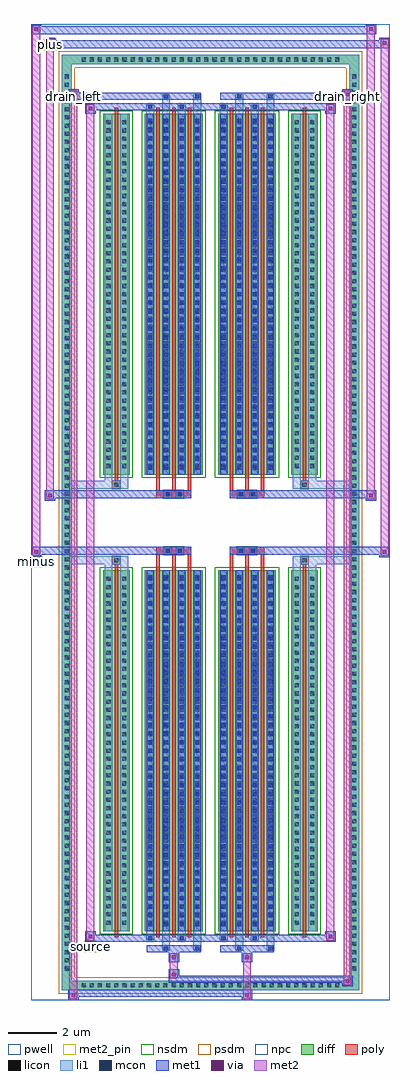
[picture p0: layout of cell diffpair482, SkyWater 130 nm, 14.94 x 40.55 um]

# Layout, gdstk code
import gdstk
lib = gdstk.Library(unit=1e-6, precision=5e-09)
def R(c, l, rs):  # rectangles x0, y0, x1, y1
    for r in rs: c.add(gdstk.rectangle(r[:2], r[2:], *l))
def A(c, l, x, y, w, h, nx, ny, dx, dy):  # array of equal rectangles
    R(c, l, [(x+i*dx, y+j*dy, x+i*dx+w, y+j*dy+h) for i in range(nx) for j in range(ny)])
def P(c, l, *ps):  # polygons
    for p in ps: c.add(gdstk.Polygon(p, *l))
pwell = (64, 44)
diff = (65, 20)
poly = (66, 20)
licon = (66, 44)
li1 = (67, 20)
mcon = (67, 44)
met1 = (68, 20)
via = (68, 44)
met2_pin = (69, 16)
met2 = (69, 20)
nsdm = (93, 44)
psdm = (94, 20)
npc = (95, 20)

diffpair482 = lib.new_cell('diffpair482')
R(diffpair482, pwell, [(-7.45,-19.84,7.45,20.71), (-4.77,-18.03,-0.01,-0.805), (0.01,-18.03,4.77,-0.805), (-4.77,0.805,-0.01,18.03), (0.01,0.805,4.77,18.03)])
A(diffpair482, diff, -5.475, -19.44, 0.41, 0.41, 32, 2, 0.34, 38.47)
A(diffpair482, diff, -6.18, -18.735, 0.41, 0.41, 1, 110, 0, 0.34)
A(diffpair482, diff, 5.77, -18.735, 0.41, 0.41, 1, 110, 0, 0.34)
R(diffpair482, diff, [(-5.475,-19.44,5.475,-19.03), (-6.18,-18.735,-5.77,18.735), (5.77,-18.735,6.18,18.735), (-4.46,-16.985,-3.36,-1.985), (-2.72,-16.985,-0.32,-1.985), (0.32,-16.985,2.72,-1.985), (3.36,-16.985,4.46,-1.985), (-4.46,1.985,-3.36,16.985), (-2.72,1.985,-0.32,16.985), (0.32,1.985,2.72,16.985), (3.36,1.985,4.46,16.985), (-5.475,19.03,5.475,19.44)])
P(diffpair482, diff, [(6.18,19.44),(-6.18,19.44),(-6.18,-19.03),(-5.77,-19.03),(-5.77,19.03),(5.77,19.03),(5.77,-19.03),(-5.77,-19.03),(-6.18,-19.03),(-6.18,-19.44),(6.18,-19.44)])
A(diffpair482, poly, -2.245, -17.235, 0.15, 15.5, 3, 2, 0.65, 18.97)
A(diffpair482, poly, 0.795, -17.235, 0.15, 15.5, 3, 2, 0.65, 18.97)
A(diffpair482, poly, -2.245, -1.735, 0.15, 0.4, 3, 2, 0.65, 3.07)
A(diffpair482, poly, 0.795, -1.735, 0.15, 0.4, 3, 2, 0.65, 3.07)
R(diffpair482, poly, [(-3.985,-17.235,-3.835,-1.735), (3.835,-17.235,3.985,-1.735), (-4.075,-1.735,-3.745,-1.405), (-4.075,-1.735,-3.745,-1.405), (3.745,-1.735,4.075,-1.405), (3.745,-1.735,4.075,-1.405), (-2.245,-1.335,-0.795,-1.005), (-1.935,-1.335,-1.605,-1.005), (-1.435,-1.335,-1.105,-1.005), (0.795,-1.335,2.245,-1.005), (1.105,-1.335,1.435,-1.005), (1.605,-1.335,1.935,-1.005), (-2.245,1.005,-0.795,1.335), (-1.935,1.005,-1.605,1.335), (-1.435,1.005,-1.105,1.335), (0.795,1.005,2.245,1.335), (1.105,1.005,1.435,1.335), (1.605,1.005,1.935,1.335), (-4.075,1.405,-3.745,1.735), (-4.075,1.405,-3.745,1.735), (3.745,1.405,4.075,1.735), (3.745,1.405,4.075,1.735), (-3.985,1.735,-3.835,17.235), (3.835,1.735,3.985,17.235)])
A(diffpair482, licon, -5.355, -19.32, 0.17, 0.17, 32, 2, 0.34, 38.47)
A(diffpair482, licon, -6.06, -18.615, 0.17, 0.17, 1, 110, 0, 0.34)
A(diffpair482, licon, 5.89, -18.615, 0.17, 0.17, 1, 110, 0, 0.34)
A(diffpair482, licon, -4.32, -16.71, 0.17, 0.17, 1, 43, 0, 0.34)
A(diffpair482, licon, -3.67, -16.71, 0.17, 0.17, 1, 43, 0, 0.34)
A(diffpair482, licon, -2.58, -16.71, 0.17, 0.17, 4, 43, 0.65, 0.34)
A(diffpair482, licon, 0.46, -16.71, 0.17, 0.17, 4, 43, 0.65, 0.34)
A(diffpair482, licon, 3.5, -16.71, 0.17, 0.17, 1, 43, 0, 0.34)
A(diffpair482, licon, 4.15, -16.71, 0.17, 0.17, 1, 43, 0, 0.34)
A(diffpair482, licon, -4.32, 2.26, 0.17, 0.17, 1, 43, 0, 0.34)
A(diffpair482, licon, -3.67, 2.26, 0.17, 0.17, 1, 43, 0, 0.34)
A(diffpair482, licon, -2.58, 2.26, 0.17, 0.17, 4, 43, 0.65, 0.34)
A(diffpair482, licon, 0.46, 2.26, 0.17, 0.17, 4, 43, 0.65, 0.34)
A(diffpair482, licon, 3.5, 2.26, 0.17, 0.17, 1, 43, 0, 0.34)
A(diffpair482, licon, 4.15, 2.26, 0.17, 0.17, 1, 43, 0, 0.34)
R(diffpair482, licon, [(-3.995,-1.655,-3.825,-1.485), (3.825,-1.655,3.995,-1.485), (-1.855,-1.255,-1.685,-1.085), (-1.355,-1.255,-1.185,-1.085), (1.185,-1.255,1.355,-1.085), (1.685,-1.255,1.855,-1.085), (-1.855,1.085,-1.685,1.255), (-1.355,1.085,-1.185,1.255), (1.185,1.085,1.355,1.255), (1.685,1.085,1.855,1.255), (-3.995,1.485,-3.825,1.655), (3.825,1.485,3.995,1.655)])
A(diffpair482, li1, -5.435, -19.4, 0.33, 0.33, 32, 2, 0.34, 38.47)
A(diffpair482, li1, -6.14, -18.695, 0.33, 0.33, 1, 110, 0, 0.34)
A(diffpair482, li1, 5.81, -18.695, 0.33, 0.33, 1, 110, 0, 0.34)
A(diffpair482, li1, -2.66, -16.985, 0.33, 15, 4, 2, 0.65, 18.97)
A(diffpair482, li1, 0.38, -16.985, 0.33, 15, 4, 2, 0.65, 18.97)
A(diffpair482, li1, -4.4, -16.79, 0.33, 0.33, 1, 43, 0, 0.34)
A(diffpair482, li1, -3.75, -16.79, 0.33, 0.33, 1, 43, 0, 0.34)
A(diffpair482, li1, -2.66, -16.79, 0.33, 0.33, 4, 43, 0.65, 0.34)
A(diffpair482, li1, 0.38, -16.79, 0.33, 0.33, 4, 43, 0.65, 0.34)
A(diffpair482, li1, 3.42, -16.79, 0.33, 0.33, 1, 43, 0, 0.34)
A(diffpair482, li1, 4.07, -16.79, 0.33, 0.33, 1, 43, 0, 0.34)
A(diffpair482, li1, -2.58, -16.77, 0.17, 0.17, 4, 41, 0.65, 0.36)
A(diffpair482, li1, -2.58, -16.77, 0.17, 14.57, 4, 2, 0.65, 18.97)
A(diffpair482, li1, 0.46, -16.77, 0.17, 0.17, 4, 41, 0.65, 0.36)
A(diffpair482, li1, 0.46, -16.77, 0.17, 14.57, 4, 2, 0.65, 18.97)
A(diffpair482, li1, -4.4, 2.18, 0.33, 0.33, 1, 43, 0, 0.34)
A(diffpair482, li1, -3.75, 2.18, 0.33, 0.33, 1, 43, 0, 0.34)
A(diffpair482, li1, -2.66, 2.18, 0.33, 0.33, 4, 43, 0.65, 0.34)
A(diffpair482, li1, 0.38, 2.18, 0.33, 0.33, 4, 43, 0.65, 0.34)
A(diffpair482, li1, 3.42, 2.18, 0.33, 0.33, 1, 43, 0, 0.34)
A(diffpair482, li1, 4.07, 2.18, 0.33, 0.33, 1, 43, 0, 0.34)
A(diffpair482, li1, -2.58, 2.2, 0.17, 0.17, 4, 41, 0.65, 0.36)
A(diffpair482, li1, 0.46, 2.2, 0.17, 0.17, 4, 41, 0.65, 0.36)
R(diffpair482, li1, [(-6.18,-19.44,-5.77,-19.03), (-6.18,-19.44,-5.77,-19.03), (-5.77,-19.44,5.77,-19.03), (5.77,-19.44,6.18,-19.03), (5.77,-19.44,6.18,-19.03), (-6.18,-19.03,-5.77,19.03), (5.77,-19.03,6.18,19.03), (-2.01,-17.79,-1.68,-16.985), (-1.93,-17.79,-1.76,-17.62), (-0.71,-17.79,-0.38,-16.985), (-0.63,-17.79,-0.46,-17.62), (1.03,-17.79,1.36,-16.985), (1.11,-17.79,1.28,-17.62), (2.33,-17.79,2.66,-16.985), (2.41,-17.79,2.58,-17.62), (-2.66,-17.36,-2.33,-16.985), (-2.58,-17.36,-2.41,-17.19), (-1.36,-17.36,-1.03,-16.985), (-1.28,-17.36,-1.11,-17.19), (0.38,-17.36,0.71,-16.985), (0.46,-17.36,0.63,-17.19), (1.68,-17.36,2.01,-16.985), (1.76,-17.36,1.93,-17.19), (-4.4,-16.985,-4.07,-1.985), (-3.75,-16.985,-3.42,-1.985), (3.42,-16.985,3.75,-1.985), (4.07,-16.985,4.4,-1.985), (-4.4,-1.985,-4.07,-1.405), (-3.75,-1.985,-3.42,-1.405), (3.42,-1.985,3.75,-1.405), (4.07,-1.985,4.4,-1.405), (-6.18,-1.735,-4.075,-1.405), (-4.4,-1.735,-4.075,-1.405), (-4.075,-1.735,-3.745,-1.405), (-3.745,-1.735,-3.42,-1.405), (3.42,-1.735,3.745,-1.405), (3.745,-1.735,4.075,-1.405), (3.745,-1.735,6.18,-1.405), (4.075,-1.735,4.4,-1.405), (-1.935,-1.335,-1.605,-1.005), (-1.435,-1.335,-1.105,-1.005), (1.105,-1.335,1.435,-1.005), (1.605,-1.335,1.935,-1.005), (-1.935,1.005,-1.605,1.335), (-1.435,1.005,-1.105,1.335), (1.105,1.005,1.435,1.335), (1.605,1.005,1.935,1.335), (-6.18,1.405,-4.075,1.735), (-4.4,1.405,-4.075,1.735), (-4.4,1.405,-4.07,1.985), (-4.075,1.405,-3.745,1.735), (-3.75,1.405,-3.42,1.985), (-3.745,1.405,-3.42,1.735), (3.42,1.405,3.745,1.735), (3.42,1.405,3.75,1.985), (3.745,1.405,4.075,1.735), (3.745,1.405,6.18,1.735), (4.07,1.405,4.4,1.985), (4.075,1.405,4.4,1.735), (-4.4,1.985,-4.07,16.985), (-3.75,1.985,-3.42,16.985), (3.42,1.985,3.75,16.985), (4.07,1.985,4.4,16.985), (-2.66,16.985,-2.33,17.36), (-2.01,16.985,-1.68,17.79), (-1.36,16.985,-1.03,17.36), (-0.71,16.985,-0.38,17.79), (0.38,16.985,0.71,17.36), (1.03,16.985,1.36,17.79), (1.68,16.985,2.01,17.36), (2.33,16.985,2.66,17.79), (-2.58,17.19,-2.41,17.36), (-1.28,17.19,-1.11,17.36), (0.46,17.19,0.63,17.36), (1.76,17.19,1.93,17.36), (-1.93,17.62,-1.76,17.79), (-0.63,17.62,-0.46,17.79), (1.11,17.62,1.28,17.79), (2.41,17.62,2.58,17.79), (-6.18,19.03,-5.77,19.44), (-6.18,19.03,-5.77,19.44), (-5.77,19.03,5.77,19.44), (5.77,19.03,6.18,19.44), (5.77,19.03,6.18,19.44)])
A(diffpair482, mcon, -2.58, -16.77, 0.17, 0.17, 4, 41, 0.65, 0.36)
A(diffpair482, mcon, 0.46, -16.77, 0.17, 0.17, 4, 41, 0.65, 0.36)
A(diffpair482, mcon, -2.58, 2.2, 0.17, 0.17, 4, 41, 0.65, 0.36)
A(diffpair482, mcon, 0.46, 2.2, 0.17, 0.17, 4, 41, 0.65, 0.36)
R(diffpair482, mcon, [(-1.93,-17.79,-1.76,-17.62), (-0.63,-17.79,-0.46,-17.62), (1.11,-17.79,1.28,-17.62), (2.41,-17.79,2.58,-17.62), (-2.58,-17.36,-2.41,-17.19), (-1.28,-17.36,-1.11,-17.19), (0.46,-17.36,0.63,-17.19), (1.76,-17.36,1.93,-17.19), (-1.855,-1.255,-1.685,-1.085), (-1.355,-1.255,-1.185,-1.085), (1.185,-1.255,1.355,-1.085), (1.685,-1.255,1.855,-1.085), (-1.855,1.085,-1.685,1.255), (-1.355,1.085,-1.185,1.255), (1.185,1.085,1.355,1.255), (1.685,1.085,1.855,1.255), (-2.58,17.19,-2.41,17.36), (-1.28,17.19,-1.11,17.36), (0.46,17.19,0.63,17.36), (1.76,17.19,1.93,17.36), (-1.93,17.62,-1.76,17.79), (-0.63,17.62,-0.46,17.79), (1.11,17.62,1.28,17.79), (2.41,17.62,2.58,17.79)])
A(diffpair482, met1, -2.64, -16.985, 0.29, 15, 4, 2, 0.65, 18.97)
A(diffpair482, met1, 0.4, -16.985, 0.29, 15, 4, 2, 0.65, 18.97)
A(diffpair482, met1, -2.64, -16.83, 0.29, 0.29, 4, 41, 0.65, 0.36)
A(diffpair482, met1, 0.4, -16.83, 0.29, 0.29, 4, 41, 0.65, 0.36)
A(diffpair482, met1, -2.64, 2.14, 0.29, 0.29, 4, 41, 0.65, 0.36)
A(diffpair482, met1, 0.4, 2.14, 0.29, 0.29, 4, 41, 0.65, 0.36)
R(diffpair482, met1, [(-5.91,-19.84,-5.48,-19.41), (1.305,-19.84,1.735,-19.41), (-5.91,-19.7,1.735,-19.41), (5.48,-19.27,5.91,-18.84), (-1.735,-19.13,5.91,-18.84), (-1.735,-18.99,-1.305,-18.56), (-1.735,-18.28,-1.305,-17.85), (1.305,-18.28,1.735,-17.85), (-2.64,-17.85,-0.4,-17.56), (-1.99,-17.85,-1.7,-17.56), (-0.69,-17.85,-0.4,-17.56), (0.4,-17.85,2.64,-17.56), (1.05,-17.85,1.34,-17.56), (2.35,-17.85,2.64,-17.56), (-5.2,-17.42,-4.77,-16.99), (-5.2,-17.42,-2.64,-17.13), (-2.64,-17.42,-2.35,-17.13), (-2.64,-17.42,-0.4,-17.13), (-1.34,-17.42,-1.05,-17.13), (-0.4,-17.42,0.4,-17.13), (0.4,-17.42,0.69,-17.13), (0.4,-17.42,2.64,-17.13), (1.7,-17.42,1.99,-17.13), (2.64,-17.42,5.2,-17.13), (4.77,-17.42,5.2,-16.99), (-7.45,-1.435,-7.02,-1.005), (7.02,-1.435,7.45,-1.005), (-7.45,-1.335,-0.795,-1.005), (-2.245,-1.335,-0.795,-1.005), (0.795,-1.335,2.245,-1.005), (0.795,-1.335,7.45,-1.005), (-1.915,-1.315,-1.625,-1.025), (-1.415,-1.315,-1.125,-1.025), (1.125,-1.315,1.415,-1.025), (1.625,-1.315,1.915,-1.025), (-6.88,0.905,-6.45,1.335), (6.45,0.905,6.88,1.335), (-6.88,1.005,-2.245,1.335), (-2.245,1.005,-0.795,1.335), (0.795,1.005,2.245,1.335), (2.245,1.005,6.88,1.335), (-1.915,1.025,-1.625,1.315), (-1.415,1.025,-1.125,1.315), (1.125,1.025,1.415,1.315), (1.625,1.025,1.915,1.315), (-5.2,16.99,-4.77,17.42), (4.77,16.99,5.2,17.42), (-5.2,17.13,-2.64,17.42), (-2.64,17.13,-2.35,17.42), (-2.64,17.13,-0.4,17.42), (-1.34,17.13,-1.05,17.42), (-0.4,17.13,0.4,17.42), (0.4,17.13,0.69,17.42), (0.4,17.13,2.64,17.42), (1.7,17.13,1.99,17.42), (2.64,17.13,5.2,17.42), (-5.91,17.56,-5.48,17.99), (-5.91,17.56,-2.64,17.85), (-2.64,17.56,-0.4,17.85), (-1.99,17.56,-1.7,17.85), (-0.69,17.56,-0.4,17.85), (0.4,17.56,2.64,17.85), (1.05,17.56,1.34,17.85), (2.35,17.56,2.64,17.85), (2.64,17.56,5.91,17.85), (5.48,17.56,5.91,17.99), (-6.88,19.71,-6.45,20.14), (-6.88,19.71,-4.77,20.04), (-4.77,19.71,4.77,20.04), (4.77,19.71,7.45,20.04), (7.02,19.71,7.45,20.14), (-7.45,20.28,-7.02,20.71), (-7.45,20.28,-4.77,20.61), (-4.77,20.28,4.77,20.61), (4.77,20.28,6.88,20.61), (6.45,20.28,6.88,20.71)])
R(diffpair482, via, [(-5.77,-19.7,-5.62,-19.55), (1.445,-19.7,1.595,-19.55), (5.62,-19.13,5.77,-18.98), (-1.595,-18.85,-1.445,-18.7), (-1.595,-18.14,-1.445,-17.99), (1.445,-18.14,1.595,-17.99), (-5.06,-17.28,-4.91,-17.13), (4.91,-17.28,5.06,-17.13), (-7.31,-1.295,-7.16,-1.145), (7.16,-1.295,7.31,-1.145), (-6.74,1.045,-6.59,1.195), (6.59,1.045,6.74,1.195), (-5.06,17.13,-4.91,17.28), (4.91,17.13,5.06,17.28), (-5.77,17.7,-5.62,17.85), (5.62,17.7,5.77,17.85), (-6.74,19.85,-6.59,20), (7.16,19.85,7.31,20), (-7.31,20.42,-7.16,20.57), (6.59,20.42,6.74,20.57)])
R(diffpair482, met2_pin, [(-5.235,-17.87,-4.735,-17.37), (-7.485,-1.885,-6.985,-1.385), (-5.945,17.44,-5.445,17.94), (5.445,17.44,5.945,17.94), (-6.915,19.59,-6.415,20.09)])
R(diffpair482, met2, [(-5.86,-19.79,-5.53,-19.46), (-5.86,-19.79,-5.53,17.94), (1.355,-19.79,1.685,-19.46), (1.355,-19.46,1.685,-18.23), (5.53,-19.22,5.86,-18.89), (5.53,-19.22,5.86,17.94), (-1.685,-18.94,-1.355,-18.61), (-1.685,-18.61,-1.355,-18.23), (-1.685,-18.23,-1.355,-17.9), (1.355,-18.23,1.685,-17.9), (-5.15,-17.37,-4.82,-17.04), (-5.15,-17.37,-4.82,17.37), (4.82,-17.37,5.15,-17.04), (4.82,-17.37,5.15,17.37), (-7.4,-1.385,-7.07,-1.055), (-7.4,-1.385,-7.07,20.66), (7.07,-1.385,7.4,-1.055), (7.07,-1.385,7.4,20.09), (-6.83,0.955,-6.5,1.285), (-6.83,0.955,-6.5,20.09), (6.5,0.955,6.83,1.285), (6.5,0.955,6.83,20.66), (-5.15,17.04,-4.82,17.37), (4.82,17.04,5.15,17.37), (-5.86,17.61,-5.53,17.94), (5.53,17.61,5.86,17.94), (-6.83,19.76,-6.5,20.09), (7.07,19.76,7.4,20.09), (-7.4,20.33,-7.07,20.66), (6.5,20.33,6.83,20.66)])
P(diffpair482, met2, [(7.4,-1.385),(7.4,-1.385),(7.4,-1.055),(7.4,-1.055)],
  [(7.4,19.76),(7.4,19.76),(7.4,20.09),(7.4,20.09)],
  [(-7.07,-1.385),(-7.07,-1.385),(-7.07,-1.055),(-7.07,-1.055)],
  [(-7.07,20.33),(-7.07,20.33),(-7.07,20.66),(-7.07,20.66)],
  [(6.83,0.955),(6.83,0.955),(6.83,1.285),(6.83,1.285)],
  [(6.83,20.33),(6.83,20.33),(6.83,20.66),(6.83,20.66)],
  [(-6.5,0.955),(-6.5,0.955),(-6.5,1.285),(-6.5,1.285)],
  [(-6.5,19.76),(-6.5,19.76),(-6.5,20.09),(-6.5,20.09)],
  [(-5.53,-19.79),(-5.53,-19.79),(-5.53,-19.46),(-5.53,-19.46)],
  [(-5.53,17.61),(-5.53,17.61),(-5.53,17.94),(-5.53,17.94)],
  [(5.86,-19.22),(5.86,-19.22),(5.86,-18.89),(5.86,-18.89)],
  [(5.86,17.61),(5.86,17.61),(5.86,17.94),(5.86,17.94)],
  [(-4.82,-17.37),(-4.82,-17.37),(-4.82,-17.04),(-4.82,-17.04)],
  [(-4.82,17.04),(-4.82,17.04),(-4.82,17.37),(-4.82,17.37)],
  [(5.15,-17.37),(5.15,-17.37),(5.15,-17.04),(5.15,-17.04)],
  [(5.15,17.04),(5.15,17.04),(5.15,17.37),(5.15,17.37)])
R(diffpair482, nsdm, [(-4.59,-17.115,-3.23,-1.855), (-2.85,-17.115,-0.19,-1.855), (0.19,-17.115,2.85,-1.855), (3.23,-17.115,4.59,-1.855), (-4.59,1.855,-3.23,17.115), (-2.85,1.855,-0.19,17.115), (0.19,1.855,2.85,17.115), (3.23,1.855,4.59,17.115)])
P(diffpair482, psdm, [(6.31,19.57),(-6.31,19.57),(-6.31,-18.9),(-5.64,-18.9),(-5.64,18.9),(5.64,18.9),(5.64,-18.9),(-5.64,-18.9),(-6.31,-18.9),(-6.31,-19.57),(6.31,-19.57)])
R(diffpair482, npc, [(-4.095,-1.755,-3.725,-1.385), (3.725,-1.755,4.095,-1.385), (-1.955,-1.355,-1.585,-0.985), (-1.955,-1.355,-1.085,-0.985), (-1.955,-1.355,-1.085,-0.985), (-1.455,-1.355,-1.085,-0.985), (1.085,-1.355,1.455,-0.985), (1.085,-1.355,1.955,-0.985), (1.085,-1.355,1.955,-0.985), (1.585,-1.355,1.955,-0.985), (-1.955,0.985,-1.585,1.355), (-1.955,0.985,-1.085,1.355), (-1.955,0.985,-1.085,1.355), (-1.455,0.985,-1.085,1.355), (1.085,0.985,1.455,1.355), (1.085,0.985,1.955,1.355), (1.085,0.985,1.955,1.355), (1.585,0.985,1.955,1.355), (-4.095,1.385,-3.725,1.755), (3.725,1.385,4.095,1.755)])
diffpair482.add(gdstk.Label('minus', (-7.235,-1.635), layer=69, texttype=5))
diffpair482.add(gdstk.Label('drain_right', (5.695,17.69), layer=69, texttype=5))
diffpair482.add(gdstk.Label('drain_left', (-5.695,17.69), layer=69, texttype=5))
diffpair482.add(gdstk.Label('source', (-4.985,-17.62), layer=69, texttype=5))
diffpair482.add(gdstk.Label('plus', (-6.665,19.84), layer=69, texttype=5))

lib.write_gds('diffpair482.gds')
